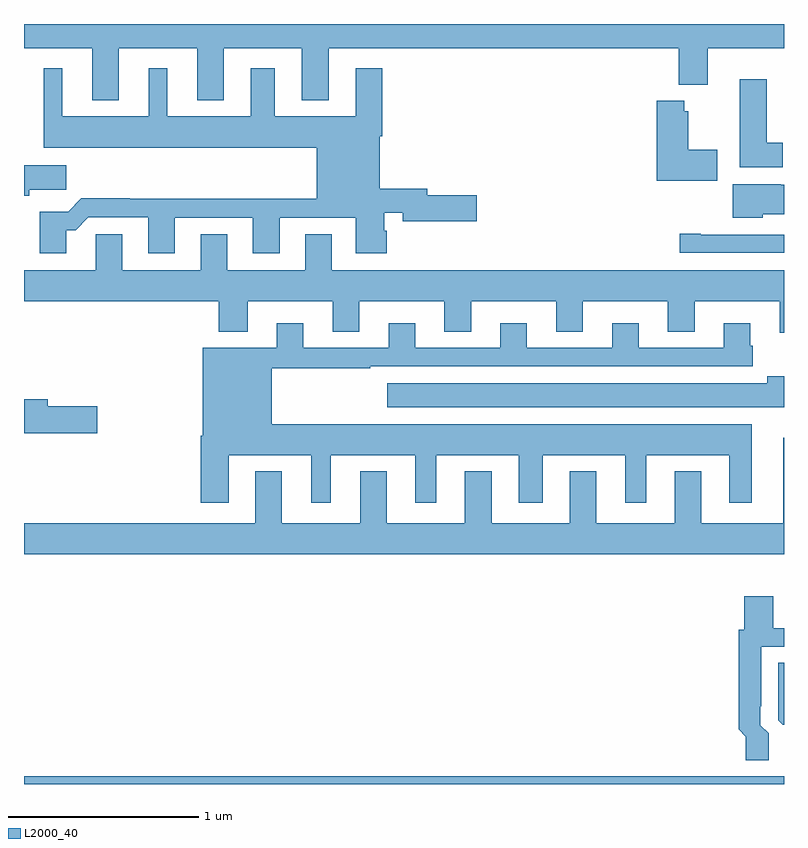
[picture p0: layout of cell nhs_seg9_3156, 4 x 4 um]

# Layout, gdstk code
import gdstk
lib = gdstk.Library(unit=1e-6, precision=1e-09)
def R(c, l, rs):  # rectangles x0, y0, x1, y1
    for r in rs: c.add(gdstk.rectangle(r[:2], r[2:], *l))
def P(c, l, *ps):  # polygons
    for p in ps: c.add(gdstk.Polygon(p, *l))
L2000_40 = (2000, 40)

nhs_seg9_3156 = lib.new_cell('nhs_seg9_3156')
R(nhs_seg9_3156, L2000_40, [(291,1240.5,295,1240.54)])
P(nhs_seg9_3156, L2000_40, [(291.499,1244.372),(291.911,1244.372),(291.911,1244.099),(292.051,1244.099),(292.051,1244.372),(292.463,1244.372),(292.463,1244.099),(292.603,1244.099),(292.603,1244.372),(294.446,1244.372),(294.446,1244.18),(294.598,1244.18),(294.598,1244.372),(295,1244.372),(295,1244.5),(291,1244.5),(291,1244.372),(291.359,1244.372),(291.359,1244.099),(291.499,1244.099)],
  [(291.223,1243.415),(291.272,1243.415),(291.339,1243.482),(291.653,1243.482),(291.653,1243.293),(291.793,1243.293),(291.793,1243.479),(292.205,1243.479),(292.205,1243.293),(292.345,1243.293),(292.345,1243.479),(292.745,1243.479),(292.745,1243.293),(292.91,1243.293),(292.91,1243.413),(292.897,1243.413),(292.897,1243.506),(292.994,1243.506),(292.994,1243.463),(293.383,1243.463),(293.383,1243.598),(293.122,1243.598),(293.122,1243.634),(292.873,1243.634),(292.873,1243.91),(292.886,1243.91),(292.886,1244.266),(292.745,1244.266),(292.745,1244.014),(292.321,1244.014),(292.321,1244.266),(292.193,1244.266),(292.193,1244.014),(291.754,1244.014),(291.754,1244.266),(291.656,1244.266),(291.656,1244.014),(291.202,1244.014),(291.202,1244.266),(291.104,1244.266),(291.104,1243.85),(292.541,1243.85),(292.541,1243.58),(291.557,1243.58),(291.557,1243.583),(291.302,1243.583),(291.232,1243.513),(291.083,1243.513),(291.083,1243.293),(291.223,1243.293)],
  [(294.994,1243.876),(294.91,1243.876),(294.91,1244.209),(294.767,1244.209),(294.767,1243.745),(294.994,1243.745)],
  [(294.649,1243.839),(294.496,1243.839),(294.496,1244.041),(294.474,1244.041),(294.474,1244.095),(294.329,1244.095),(294.329,1243.676),(294.649,1243.676)],
  [(291.028,1243.627),(291.223,1243.627),(291.223,1243.756),(291,1243.756),(291,1243.595),(291.028,1243.595)],
  [(294.888,1243.499),(295,1243.499),(295,1243.653),(294.983,1243.653),(294.983,1243.657),(294.731,1243.657),(294.731,1243.481),(294.888,1243.481)],
  [(295,1243.392),(294.562,1243.392),(294.562,1243.397),(294.45,1243.397),(294.45,1243.296),(295,1243.296)],
  [(295,1243.204),(292.621,1243.204),(292.621,1243.394),(292.481,1243.394),(292.481,1243.204),(292.069,1243.204),(292.069,1243.394),(291.929,1243.394),(291.929,1243.204),(291.517,1243.204),(291.517,1243.394),(291.378,1243.394),(291.378,1243.204),(291,1243.204),(291,1243.04),(292.025,1243.04),(292.025,1242.881),(292.177,1242.881),(292.177,1243.04),(292.625,1243.04),(292.625,1242.88),(292.765,1242.88),(292.765,1243.04),(293.213,1243.04),(293.213,1242.88),(293.353,1242.88),(293.353,1243.04),(293.801,1243.04),(293.801,1242.88),(293.941,1242.88),(293.941,1243.04),(294.389,1243.04),(294.389,1242.88),(294.529,1242.88),(294.529,1243.04),(294.977,1243.04),(294.977,1242.876),(295,1242.876)],
  [(292.078,1242.23),(292.511,1242.23),(292.511,1241.979),(292.615,1241.979),(292.615,1242.23),(293.06,1242.23),(293.06,1241.979),(293.17,1241.979),(293.17,1242.23),(293.603,1242.23),(293.603,1241.979),(293.731,1241.979),(293.731,1242.23),(294.164,1242.23),(294.164,1241.979),(294.274,1241.979),(294.274,1242.23),(294.713,1242.23),(294.713,1241.979),(294.829,1241.979),(294.829,1242.394),(292.303,1242.394),(292.303,1242.687),(292.823,1242.687),(292.823,1242.699),(294.836,1242.699),(294.836,1242.807),(294.823,1242.807),(294.823,1242.925),(294.683,1242.925),(294.683,1242.795),(294.235,1242.795),(294.235,1242.925),(294.095,1242.925),(294.095,1242.795),(293.647,1242.795),(293.647,1242.925),(293.507,1242.925),(293.507,1242.795),(293.059,1242.795),(293.059,1242.925),(292.919,1242.925),(292.919,1242.795),(292.471,1242.795),(292.471,1242.925),(292.331,1242.925),(292.331,1242.796),(291.941,1242.796),(291.941,1242.334),(291.929,1242.334),(291.929,1241.979),(292.078,1241.979)],
  [(295,1242.646),(294.911,1242.646),(294.911,1242.61),(292.911,1242.61),(292.911,1242.482),(295,1242.482)],
  [(291.385,1242.488),(291.124,1242.488),(291.124,1242.524),(291,1242.524),(291,1242.346),(291.385,1242.346)],
  [(295,1242.322),(294.995,1242.322),(294.995,1241.872),(294.565,1241.872),(294.565,1242.145),(294.425,1242.145),(294.425,1241.872),(294.013,1241.872),(294.013,1242.145),(293.873,1242.145),(293.873,1241.872),(293.461,1241.872),(293.461,1242.145),(293.321,1242.145),(293.321,1241.872),(292.909,1241.872),(292.909,1242.145),(292.769,1242.145),(292.769,1241.872),(292.357,1241.872),(292.357,1242.145),(292.217,1242.145),(292.217,1241.872),(291,1241.872),(291,1241.708),(295,1241.708)],
  [(294.919,1240.766),(294.876,1240.809),(294.876,1240.909),(294.879,1240.909),(294.879,1241.223),(295,1241.223),(295,1241.32),(294.943,1241.32),(294.943,1241.488),(294.791,1241.488),(294.791,1241.313),(294.763,1241.313),(294.763,1240.97),(294.761,1240.97),(294.761,1240.788),(294.799,1240.749),(294.799,1240.626),(294.919,1240.626)],
  [(295,1241.138),(294.969,1241.138),(294.969,1240.836),(294.993,1240.813),(295,1240.813)])

lib.write_gds('nhs_seg9_3156.gds')
